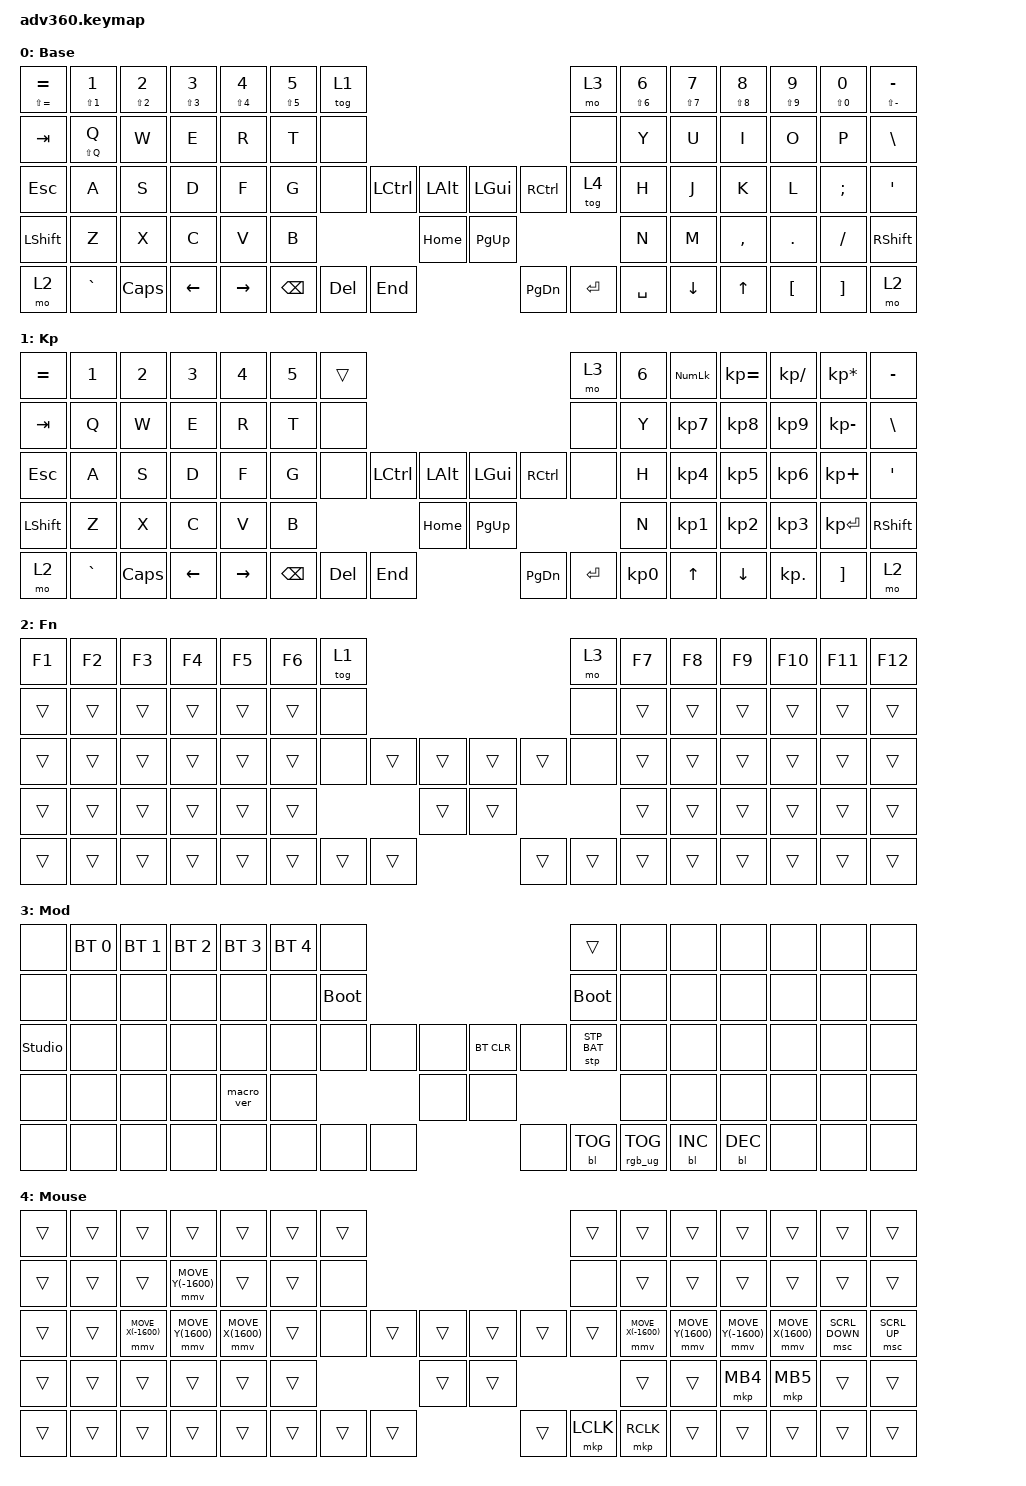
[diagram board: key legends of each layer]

/*
 * Copyright (c) 2020 The ZMK Contributors
 *
 * SPDX-License-Identifier: MIT
 */


/* THIS FILE WAS GENERATED!
 *
 * This file was generated automatically. You may or may not want to
 * edit it directly.
 */

#include <behaviors.dtsi>
#include <dt-bindings/zmk/keys.h>
#include <dt-bindings/zmk/bt.h>
#include <dt-bindings/zmk/rgb.h>
#include <dt-bindings/zmk/stp.h>
#include <dt-bindings/zmk/backlight.h>
#include <dt-bindings/zmk/pointing.h>

/ {
    behaviors {
      #include "macros.dtsi"
      #include "version.dtsi"

    hm: homerow_mods {
        compatible = "zmk,behavior-hold-tap";
        #binding-cells = <2>;
        tapping-term-ms = <200>;
        quick_tap_ms = <175>;
        flavor = "tap-preferred";
        bindings = <&kp>, <&kp>;
    };

    mt_shift: mt_shift {
      compatible = "zmk,behavior-hold-tap";
      #binding-cells = <2>;
      tapping-term-ms = <200>;
      flavor = "tap-preferred";
      bindings = <&kp>, <&kp>; /* tap key, hold key */
    };
 
  };

  keymap {
    compatible = "zmk,keymap";

    default_layer {
      display-name = "Base";
      bindings = <
        &mt_shift LS(EQUAL) EQUAL &mt_shift LS(N1) N1    &mt_shift LS(N2) N2   &mt_shift LS(N3) N3   &mt_shift LS(N4) N4     &mt_shift LS(N5) N5 &tog 1                                                           &mo 3 &mt_shift LS(N6) N6 &mt_shift LS(N7) N7 &mt_shift LS(N8) N8    &mt_shift LS(N9) N9   &mt_shift LS(N0) N0   &mt_shift LS(MINUS) MINUS
        &kp TAB   &mt_shift LS(Q) Q     &kp W    &kp E    &kp R      &kp T  &none                                                            &none &kp Y  &kp U  &kp I     &kp O    &kp P    &kp BSLH
        &kp ESC   &kp A     &kp S    &kp D    &kp F      &kp G  &none           &kp LCTRL &kp LALT &kp LGUI  &kp RCTRL           &tog 4 &kp H  &kp J  &kp K     &kp L    &kp SEMI &kp SQT
        &kp LSHFT &kp Z     &kp X    &kp C    &kp V      &kp B                            &kp HOME &kp PG_UP                           &kp N  &kp M  &kp COMMA &kp DOT  &kp FSLH &kp RSHFT
        &mo 2     &kp GRAVE &kp CAPS &kp LEFT &kp RIGHT                &kp BSPC &kp DEL   &kp END  &kp PG_DN &kp ENTER &kp SPACE              &kp DOWN &kp UP  &kp LBKT &kp RBKT &mo 2
      >;
    };
    keypad {
      display-name = "Kp";
      bindings = <
        &kp EQUAL &kp N1    &kp N2   &kp N3   &kp N4     &kp N5 &trans                                                           &mo 3 &kp N6 &kp KP_NUM &kp KP_EQUAL &kp KP_DIVIDE &kp KP_MULTIPLY &kp MINUS
        &kp TAB   &kp Q     &kp W    &kp E    &kp R      &kp T  &none                                                            &none &kp Y  &kp KP_N7  &kp KP_N8    &kp KP_N9     &kp KP_MINUS    &kp BSLH
        &kp ESC   &kp A     &kp S    &kp D    &kp F      &kp G  &none           &kp LCTRL &kp LALT &kp LGUI  &kp RCTRL           &none &kp H  &kp KP_N4  &kp KP_N5    &kp KP_N6     &kp KP_PLUS     &kp SQT
        &kp LSHFT &kp Z     &kp X    &kp C    &kp V      &kp B                            &kp HOME &kp PG_UP                           &kp N  &kp KP_N1  &kp KP_N2    &kp KP_N3     &kp KP_ENTER    &kp RSHFT
        &mo 2     &kp GRAVE &kp CAPS &kp LEFT &kp RIGHT                &kp BSPC &kp DEL   &kp END  &kp PG_DN &kp ENTER &kp KP_N0              &kp UP     &kp DOWN     &kp KP_DOT    &kp RBKT        &mo 2
      >;
    };
    fn {
      display-name = "Fn";
      bindings = <
        &kp F1 &kp F2 &kp F3 &kp F4 &kp F5 &kp F6 &tog 1                                           &mo 3 &kp F7 &kp F8 &kp F9 &kp F10 &kp F11 &kp F12
        &trans &trans &trans &trans &trans &trans  &none                                           &none &trans &trans &trans &trans  &trans  &trans
        &trans &trans &trans &trans &trans &trans  &none        &trans &trans &trans &trans        &none &trans &trans &trans &trans  &trans  &trans
        &trans &trans &trans &trans &trans &trans                      &trans &trans                     &trans &trans &trans &trans  &trans  &trans
        &trans &trans &trans &trans &trans               &trans &trans &trans &trans &trans &trans              &trans &trans &trans  &trans  &trans
      >;
    };
    mod {
      display-name = "Mod";
      bindings = <
        &none &bt BT_SEL 0 &bt BT_SEL 1 &bt BT_SEL 2 &bt BT_SEL 3 &bt BT_SEL 4 &none                                                                     &trans                 &none        &none        &none        &none &none &none
        &none &none        &none        &none        &none        &none        &bootloader                                                               &bootloader            &none        &none        &none        &none &none &none
        &studio_unlock &none        &none        &none        &none        &none        &none                   &none &none &bt BT_CLR &none                      &stp STP_BAT &none        &none        &none        &none &none &none
        &none &none        &none        &none        &macro_ver   &none                                      &none &none                                                        &none        &none        &none        &none &none &none
        &none &none        &none        &none        &none                                       &none &none &none &none      &bl BL_TOG &rgb_ug RGB_TOG                                     &bl BL_INC   &bl BL_DEC   &none &none &none
      >;
    };
    
    mouse {
    display-name = "Mouse";
    bindings = <
        &trans &trans &trans &trans &trans &trans &trans                                                               &trans &trans &trans &trans &trans &trans &trans
        &trans &trans &trans &mmv MOVE_Y(-1600) &trans &trans &none                                                                &none  &trans &trans &trans &trans &trans &trans
        &trans &trans &mmv MOVE_X(-1600) &mmv MOVE_Y(1600) &mmv MOVE_X(1600) &trans &none &trans &trans &trans &trans                                   &trans  &mmv MOVE_X(-1600) &mmv MOVE_Y(1600) &mmv MOVE_Y(-1600) &mmv MOVE_X(1600) &msc SCRL_DOWN &msc SCRL_UP
        &trans &trans &trans &trans &trans &trans       &trans &trans                                                         &trans &trans &mkp MB4 &mkp MB5 &trans &trans
        &trans &trans &trans &trans &trans       &trans &trans &trans &trans &mkp LCLK &mkp RCLK                                     &trans &trans &trans &trans &trans
      >;
    };
    
    extra1 { 
      display-name = "Red";    
      status = "reserved";
    };

    extra2 { 
      display-name = "Purple";    
      status = "reserved";
    };

    extra3 { 
      display-name = "Cyan";    
      status = "reserved";
    };

    extra4 { 
      display-name = "Yellow";    
      status = "reserved";
    };
  };
};
